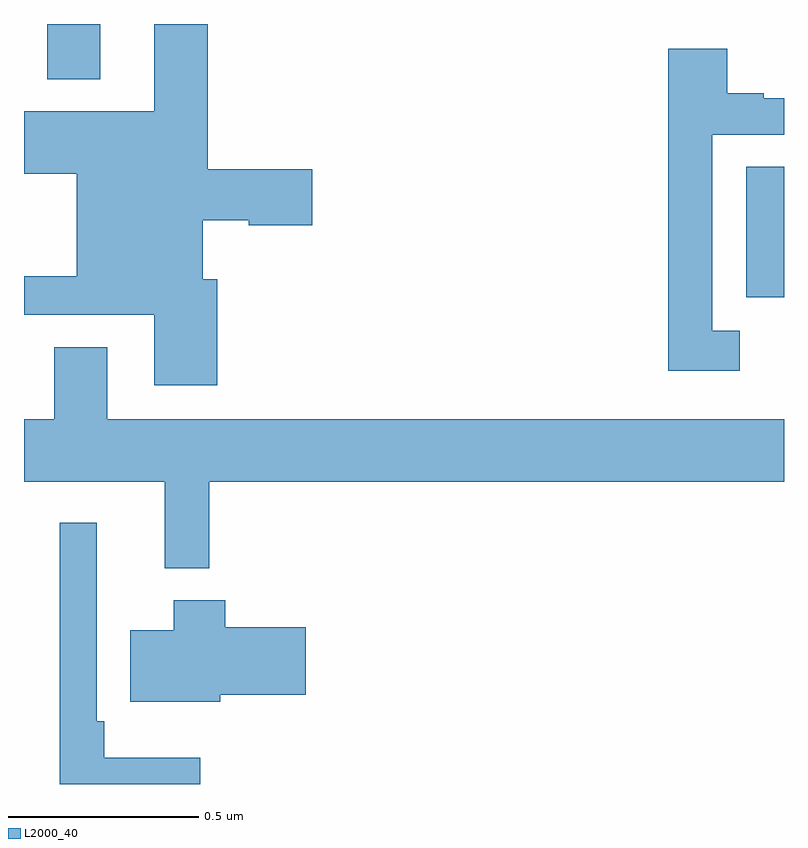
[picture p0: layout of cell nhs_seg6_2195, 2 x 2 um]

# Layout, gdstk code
import gdstk
lib = gdstk.Library(unit=1e-6, precision=1e-09)
def R(c, l, rs):  # rectangles x0, y0, x1, y1
    for r in rs: c.add(gdstk.rectangle(r[:2], r[2:], *l))
def P(c, l, *ps):  # polygons
    for p in ps: c.add(gdstk.Polygon(p, *l))
L2000_40 = (2000, 40)

nhs_seg6_2195 = lib.new_cell('nhs_seg6_2195')
R(nhs_seg6_2195, L2000_40, [(140.9,987.781,141,988.124), (139.061,988.355,139.201,988.5)])
P(nhs_seg6_2195, L2000_40, [(139.508,987.828),(139.471,987.828),(139.471,987.983),(139.591,987.983),(139.591,987.971),(139.759,987.971),(139.759,988.118),(139.484,988.118),(139.484,988.5),(139.343,988.5),(139.343,988.27),(139,988.27),(139,988.106),(139.139,988.106),(139.139,987.836),(139,987.836),(139,987.735),(139.343,987.735),(139.343,987.549),(139.508,987.549)],
  [(140.884,987.693),(140.811,987.693),(140.811,988.209),(141,988.209),(141,988.305),(140.947,988.305),(140.947,988.318),(140.851,988.318),(140.851,988.435),(140.695,988.435),(140.695,987.588),(140.884,987.588)],
  [(139.487,987.296),(141,987.296),(141,987.46),(139.219,987.46),(139.219,987.65),(139.079,987.65),(139.079,987.46),(139,987.46),(139,987.296),(139.37,987.296),(139.37,987.068),(139.487,987.068)],
  [(139.464,986.569),(139.211,986.569),(139.211,986.665),(139.191,986.665),(139.191,987.187),(139.094,987.187),(139.094,986.5),(139.464,986.5)],
  [(139.516,986.735),(139.741,986.735),(139.741,986.913),(139.529,986.913),(139.529,986.983),(139.394,986.983),(139.394,986.905),(139.28,986.905),(139.28,986.717),(139.516,986.717)])

lib.write_gds('nhs_seg6_2195.gds')
